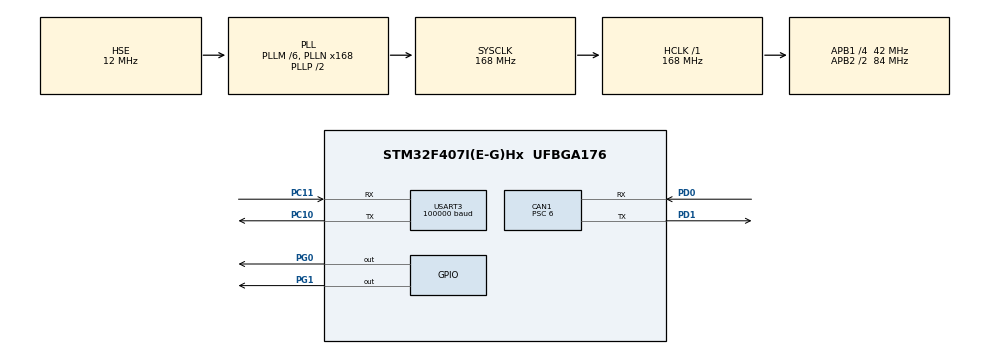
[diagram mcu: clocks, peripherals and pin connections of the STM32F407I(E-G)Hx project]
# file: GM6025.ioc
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CAN1.BS1=CAN_BS1_3TQ
CAN1.BS2=CAN_BS2_3TQ
CAN1.CalculateBaudRate=1000000
CAN1.CalculateTimeBit=1000
CAN1.CalculateTimeQuantum=142.85714285714286
CAN1.Prescaler=6
Dma.Request0=USART3_RX
Dma.Request1=USART3_TX
Dma.USART3_RX.0.Direction=DMA_PERIPH_TO_MEMORY
Dma.USART3_RX.0.FIFOMode=DMA_FIFOMODE_DISABLE
Dma.USART3_RX.0.Instance=DMA1_Stream1
Dma.USART3_RX.0.MemDataAlignment=DMA_MDATAALIGN_BYTE
Dma.USART3_RX.0.MemInc=DMA_MINC_ENABLE
Dma.USART3_RX.0.Mode=DMA_NORMAL
Dma.USART3_RX.0.PeriphDataAlignment=DMA_PDATAALIGN_BYTE
Dma.USART3_RX.0.PeriphInc=DMA_PINC_DISABLE
Dma.USART3_RX.0.Priority=DMA_PRIORITY_VERY_HIGH
Dma.USART3_TX.1.Direction=DMA_MEMORY_TO_PERIPH
Dma.USART3_TX.1.FIFOMode=DMA_FIFOMODE_DISABLE
Dma.USART3_TX.1.Instance=DMA1_Stream3
Dma.USART3_TX.1.MemDataAlignment=DMA_MDATAALIGN_BYTE
Dma.USART3_TX.1.MemInc=DMA_MINC_ENABLE
Dma.USART3_TX.1.Mode=DMA_NORMAL
Dma.USART3_TX.1.PeriphDataAlignment=DMA_PDATAALIGN_BYTE
Dma.USART3_TX.1.PeriphInc=DMA_PINC_DISABLE
Dma.USART3_TX.1.Priority=DMA_PRIORITY_VERY_HIGH
Mcu.Family=STM32F4
Mcu.Name=STM32F407I(E-G)Hx
Mcu.Package=UFBGA176
NVIC.CAN1_RX0_IRQn=true\:0\:0\:false\:false\:true\:true\:true\:true
NVIC.DMA1_Stream1_IRQn=true\:0\:0\:false\:false\:true\:false\:true\:true
NVIC.DMA1_Stream3_IRQn=true\:0\:0\:false\:false\:true\:false\:true\:true
NVIC.PriorityGroup=NVIC_PRIORITYGROUP_4
NVIC.TIM2_IRQn=true\:0\:0\:false\:false\:true\:true\:true\:true
NVIC.USART3_IRQn=true\:0\:0\:false\:false\:true\:true\:true\:true
PA13.Mode=Serial_Wire
PA13.Signal=SYS_JTMS-SWDIO
PA14.Mode=Serial_Wire
PA14.Signal=SYS_JTCK-SWCLK
PC10.Mode=Asynchronous
PC10.Signal=USART3_TX
PC11.Mode=Asynchronous
PC11.Signal=USART3_RX
PD0.Mode=CAN_Activate
PD0.Signal=CAN1_RX
PD1.Mode=CAN_Activate
PD1.Signal=CAN1_TX
PG0.GPIO_PuPd=GPIO_PULLUP
PG0.PinState=GPIO_PIN_SET
PG0.Signal=GPIO_Output
PG1.GPIO_PuPd=GPIO_PULLUP
PG1.PinState=GPIO_PIN_SET
PG1.Signal=GPIO_Output
PH0-OSC_IN.Mode=HSE-External-Oscillator
PH0-OSC_IN.Signal=RCC_OSC_IN
PH1-OSC_OUT.Mode=HSE-External-Oscillator
PH1-OSC_OUT.Signal=RCC_OSC_OUT
ProjectManager.HeapSize=0x200
ProjectManager.StackSize=0x400
ProjectManager.TargetToolchain=STM32CubeIDE
RCC.48MHZClocksFreq_Value=84000000
RCC.AHBFreq_Value=168000000
RCC.APB1CLKDivider=RCC_HCLK_DIV4
RCC.APB1Freq_Value=42000000
RCC.APB1TimFreq_Value=84000000
RCC.APB2CLKDivider=RCC_HCLK_DIV2
RCC.APB2Freq_Value=84000000
RCC.APB2TimFreq_Value=168000000
RCC.CortexFreq_Value=168000000
RCC.HCLKFreq_Value=168000000
RCC.HSE_VALUE=12000000
RCC.HSI_VALUE=16000000
RCC.LSE_VALUE=32768
RCC.PLLM=6
RCC.PLLN=168
RCC.PLLSourceVirtual=RCC_PLLSOURCE_HSE
RCC.SYSCLKFreq_VALUE=168000000
RCC.SYSCLKSource=RCC_SYSCLKSOURCE_PLLCLK
RCC.VCOOutputFreq_Value=336000000
TIM2.Period=999
TIM2.Prescaler=167
USART3.BaudRate=100000
USART3.Parity=PARITY_EVEN
USART3.VirtualMode=VM_ASYNC
USART3.WordLength=WORDLENGTH_9B
VP_TIM2_VS_ClockSourceINT.Mode=Internal
board=custom

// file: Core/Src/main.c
/* USER CODE BEGIN Header */
/**
  ******************************************************************************
  * @file           : main.c
  * @brief          : Main program body
  ******************************************************************************
  * @attention
  *
  * Copyright (c) 2024 STMicroelectronics.
  * All rights reserved.
  *
  * This software is licensed under terms that can be found in the LICENSE file
  * in the root directory of this software component.
  * If no LICENSE file comes with this software, it is provided AS-IS.
  *
  ******************************************************************************
  */
/* USER CODE END Header */
#include "main.h"
#include "can.h"
#include "dma.h"
#include "tim.h"
#include "usart.h"
#include "gpio.h"

/* USER CODE BEGIN Includes */
#include "Bsp_can.h"
#include "Chassis_Control.h"
#include "pid.h"
#include "Algorithms_Lib.h"
/* USER CODE END Includes */

/* USER CODE BEGIN PD */
#define RC_CH_VALUE_MIN 364
#define RC_CH_VALUE_OFFSET 1024
#define RC_CH_VALUE_MAX 1684
/* USER CODE END PD */

/* USER CODE BEGIN PV */
typedef struct
 {
 int ch0;
 int ch1;
 int ch2;
 int ch3;
 int ch4;
 uint8_t s1;
 uint8_t s2;
 uint8_t last_s1;
 uint8_t last_ch4;
 } rc;

uint8_t buffer[36];
rc RC_ctrl;
int back;
uint8_t state;
uint8_t error;

extern Motor_6025_Typedef motor_array[6]; //前四位为底盘，后两位为云�?
extern value_set_chassis[4];
/* USER CODE END PV */

void SystemClock_Config(void);

int main(void)
{

  /* MCU Configuration--------------------------------------------------------*/

  /* Reset of all peripherals, Initializes the Flash interface and the Systick. */
  HAL_Init();

  /* Configure the system clock */
  SystemClock_Config();

  /* Initialize all configured peripherals */
  MX_GPIO_Init();
  MX_DMA_Init();
  MX_CAN1_Init();
  MX_USART3_UART_Init();
  MX_TIM2_Init();
  /* USER CODE BEGIN 2 */
can_user_init(&hcan1);
HAL_TIM_Base_Start_IT(&htim2);
HAL_UARTEx_ReceiveToIdle_IT(&huart3 , buffer, sizeof(buffer));
  /* USER CODE END 2 */

  /* Infinite loop */
  while (1)
  {

  }
}

void SystemClock_Config(void)
{
  RCC_OscInitTypeDef RCC_OscInitStruct = {0};
  RCC_ClkInitTypeDef RCC_ClkInitStruct = {0};

  /** Configure the main internal regulator output voltage
  */
  __HAL_RCC_PWR_CLK_ENABLE();
  __HAL_PWR_VOLTAGESCALING_CONFIG(PWR_REGULATOR_VOLTAGE_SCALE1);

  /** Initializes the RCC Oscillators according to the specified parameters
  * in the RCC_OscInitTypeDef structure.
  */
  RCC_OscInitStruct.OscillatorType = RCC_OSCILLATORTYPE_HSE;
  RCC_OscInitStruct.HSEState = RCC_HSE_ON;
  RCC_OscInitStruct.PLL.PLLState = RCC_PLL_ON;
  RCC_OscInitStruct.PLL.PLLSource = RCC_PLLSOURCE_HSE;
  RCC_OscInitStruct.PLL.PLLM = 6;
  RCC_OscInitStruct.PLL.PLLN = 168;
  RCC_OscInitStruct.PLL.PLLP = RCC_PLLP_DIV2;
  RCC_OscInitStruct.PLL.PLLQ = 4;
  if (HAL_RCC_OscConfig(&RCC_OscInitStruct) != HAL_OK)
  {
    Error_Handler();
  }

  /** Initializes the CPU, AHB and APB buses clocks
  */
  RCC_ClkInitStruct.ClockType = RCC_CLOCKTYPE_HCLK|RCC_CLOCKTYPE_SYSCLK
                              |RCC_CLOCKTYPE_PCLK1|RCC_CLOCKTYPE_PCLK2;
  RCC_ClkInitStruct.SYSCLKSource = RCC_SYSCLKSOURCE_PLLCLK;
  RCC_ClkInitStruct.AHBCLKDivider = RCC_SYSCLK_DIV1;
  RCC_ClkInitStruct.APB1CLKDivider = RCC_HCLK_DIV4;
  RCC_ClkInitStruct.APB2CLKDivider = RCC_HCLK_DIV2;

  if (HAL_RCC_ClockConfig(&RCC_ClkInitStruct, FLASH_LATENCY_5) != HAL_OK)
  {
    Error_Handler();
  }
}

/* USER CODE BEGIN 4 */
void HAL_UARTEx_RxEventCallback(UART_HandleTypeDef *huart, uint16_t Size)
{
   if(huart == &huart3)
//  if(__HAL_UART_GET_FLAG(huart,UART_FLAG_IDLE))
  {
//    HAL_UART_AbortReceive(huart);
    //HAL_UARTEx_ReceiveToIdle_IT(&huart3,buffer,18);
//     HAL_UART_Receive_DMA(&huart1,buffer,18);
	  HAL_UARTEx_ReceiveToIdle_IT(&huart3,buffer,18);
    RC_ctrl.ch0 = (buffer[0] | buffer[1] << 8) & 0x07FF;
    RC_ctrl.ch1 = (buffer[1] >> 3 |buffer[2] << 5) & 0x07FF;
    RC_ctrl.ch2 = (buffer[2] >> 6 | buffer[3] << 2 | buffer[4] << 10) & 0x07FF;
    RC_ctrl.ch3 = (buffer [4] >> 1 | buffer[5] << 7) & 0x07FF;
    RC_ctrl.ch4 = (buffer[16] | (buffer[17] << 8));
    RC_ctrl.s1  = (buffer[5] >> 4 & 0x000C) >> 2;
    RC_ctrl.s2  = (buffer[5] >> 4 & 0x0003);

    RC_ctrl.ch0 -= RC_CH_VALUE_OFFSET;
    RC_ctrl.ch1 -= RC_CH_VALUE_OFFSET;
    RC_ctrl.ch2 -= RC_CH_VALUE_OFFSET;
    RC_ctrl.ch3 -= RC_CH_VALUE_OFFSET;
    RC_ctrl.ch4 -= RC_CH_VALUE_OFFSET;
//    HAL_UARTEx_ReceiveToIdle_DMA(&huart1,buffer,36);
  }
}

void RC_Chassis_DataUpdate(int16_t *chassis_set_array)
{
	static LOW_PASS_FILTER_Typedef motor_chassis_filter[4];
	static uint8_t i = 1;
	const static float RATE = 1;
	if(i == 1)
	{
		const float K_LPF_CHASSIS = 0.12;
		const float T_LPF_CHASSIS = 0.002;
		for(i = 0; i < 4; i++)
		{
			low_pass_filter_init(&motor_chassis_filter[i], K_LPF_CHASSIS, T_LPF_CHASSIS);
		}
	}
	chassis_set_array[0] = -RATE * low_pass_filter(&motor_chassis_filter[0], RC_ctrl.ch1 - RC_ctrl.ch0 - RC_ctrl.ch2);
	chassis_set_array[1] =  RATE * low_pass_filter(&motor_chassis_filter[1], RC_ctrl.ch1 + RC_ctrl.ch0 + RC_ctrl.ch2);
	chassis_set_array[2] =  RATE * low_pass_filter(&motor_chassis_filter[2], RC_ctrl.ch1 - RC_ctrl.ch0 + RC_ctrl.ch2);
	chassis_set_array[3] = -RATE * low_pass_filter(&motor_chassis_filter[3], RC_ctrl.ch1 + RC_ctrl.ch0 - RC_ctrl.ch2);

}

void HAL_TIM_PeriodElapsedCallback(TIM_HandleTypeDef *htim)
{

	static uint8_t flag = 0;
	if (htim->Instance == TIM2)
	{
		if (flag == 0)
		{
			Chassis_Control(motor_array);
			set_motor_value(0x200, value_set_chassis[0], value_set_chassis[1], value_set_chassis[2], value_set_chassis[3]);

		}

		flag ^= 1;
	}
}

/****************************************************************************/
//#define DATA_LENGTH_CHASSIS ((uint8_t) 20)
//int16_t speed_set_chassis[4];
//static float speed_filtered_chassis[4] = {0};
//int16_t value[4];
//static uint8_t init_flag = 1;
//		uint8_t i;
//		static PID_Typedef pid_speed_motor_chassis[4];
//		static float relative_angle_chassis[4] ={0, 0, 0 ,0};
//		static float in_data[4][DATA_LENGTH_CHASSIS] = {0};
//		float angle_increment_chassis[4] = {0};
//		float speed_chassis[4] = {0};
//		static int16_t value_set_chassis[4] ={ 0 };
//
//void Chassis_Control(Motor_6025_Typedef *motor_chassis_array)
//{
////	static uint8_t init_flag = 1;
////		uint8_t i;
////		static PID_Typedef pid_speed_motor_chassis[4];
////		static float relative_angle_chassis[4] ={0, 0, 0 ,0};
////		static float in_data[4][DATA_LENGTH_CHASSIS] = {0};
////		float angle_increment_chassis[4] = {0};
////		float speed_chassis[4] = {0};
////		static int16_t value_set_chassis[4] ={ 0 };
//
//		if(init_flag == 1)
//		{
//			Pid_Init_Speed_Chassis(&pid_speed_motor_chassis[0]);
//			for(i = 0; i < 4; i++)
//			{
//					motor_chassis_array[i].last_angle = motor_chassis_array[i].angle;
//			}
//			init_flag = 0;
//		}
//		RC_Chassis_DataUpdate(speed_set_chassis);
//		for(i = 0; i < 4; i++)
//		{
//			angle_increment_chassis[i] = Angle_Calculate(motor_chassis_array[i].angle / 8191.0 * 360.0 ,
//													motor_chassis_array[i].last_angle / 8191.0 * 360.0);
//			relative_angle_chassis[i] += angle_increment_chassis[i];
//			speed_chassis[i] = angle_increment_chassis[i] * 60000.0 / 360.0;
//			speed_filtered_chassis[i] = Average_Filter(&in_data[i][0], speed_chassis[i], DATA_LENGTH_CHASSIS);
//
//			value_set_chassis[i] = Pid_Calculate(&pid_speed_motor_chassis[i], speed_filtered_chassis[i], speed_set_chassis[i]);
//			}
//			for(i = 0; i < 4; i++)
//			{
//
//			motor_chassis_array[i].last_angle = motor_chassis_array[i].angle;
//		}
//		for(int i=0;i<4;i++)
//		{
//			value[i] = value_set_chassis[i];
//
//		}
//
//}
//
//
//void Pid_Init_Speed_Chassis(PID_Typedef *pid)
//{
//	for(uint8_t i = 0; i < 4; i++)
//	{
//		pid[i].param.Kd = 0.04;
//		pid[i].param.Ki = 0.09;
//		pid[i].param.Kp = 10.00;
//
//		pid[i].limit.max_err_input = 3300;
//		pid[i].limit.max_i_out = 4000;
//		pid[i].limit.max_total_out = 5000;
//	}
//}
//

/**************************************************************************************************/

/* USER CODE END 4 */

void Error_Handler(void)
{
  __disable_irq();
  while (1)
  {
  }
}
